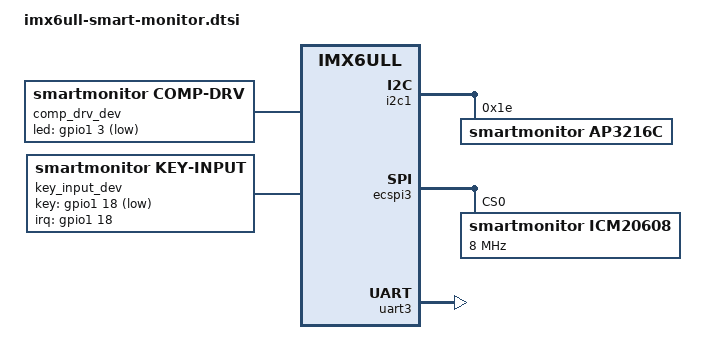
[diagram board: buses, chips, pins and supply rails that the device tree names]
/ {
  /* ========== LED 驱动 (CDEV) ========== */
  comp_drv_dev {
    compatible = "smartmonitor,comp-drv";
    pinctrl-names = "default";
    pinctrl-0 = <&pinctrl_led>;          /* ← 引用已有的引脚配置 */
    led-gpios = <&gpio1 3 GPIO_ACTIVE_LOW>;
    status = "okay";
  };
  
  /* ========== 按键输入驱动 (Input + IRQ) ========== */
  key_input_dev {
    compatible = "smartmonitor,key-input";
    pinctrl-names = "default";
    pinctrl-0 = <&pinctrl_key>;          /* ← 引用已有的引脚配置 */
    key-gpios = <&gpio1 18 GPIO_ACTIVE_LOW>;
    interrupt-parent = <&gpio1>;
    interrupts = <18 IRQ_TYPE_EDGE_BOTH>;
    key-code = <28>;
    debounce-interval = <20>;
    status = "okay";
  };
  
  /* ========== UART3 命令控制台（Phase 7） ==========
   *
   * UART3 硬件资源：
   *   基地址：0x021ec000（来自 imx6ull.dtsi 的 uart3 节点）
   *   中断号：GIC_SPI 28（Linux IRQ = 32+28 = 60）
   *   时钟：  IMX6UL_CLK_UART3_IPG + IMX6UL_CLK_UART3_SERIAL
   *
   * 注意：&uart3 已设为 disabled，防止 imx 驱动抢占资源。
   */
  uart_sensor_dev: uart_sensor_dev {
    compatible = "smartmonitor,uart-sensor";
    reg = <0x021ec000 0x4000>;
    interrupts = <GIC_SPI 28 IRQ_TYPE_LEVEL_HIGH>;
    interrupt-parent = <&intc>;
    clocks = <&clks IMX6UL_CLK_UART3_IPG>,
             <&clks IMX6UL_CLK_UART3_SERIAL>;
    clock-names = "ipg", "per";
    pinctrl-names = "default";
    pinctrl-0 = <&pinctrl_uart3>;
    current-speed = <115200>;
    status = "okay";
  };
  
};


/* ========== I2C1 — AP3216C 光照/接近传感器 ========== */
&i2c1 {
  ap3216c: ap3216c@1e {
    compatible = "smartmonitor,ap3216c";
    reg = <0x1e>;
  };
};

  /* ========== ECSPI3 — ICM20608 6轴传感器 ========== */
&ecspi3 {
  icm20608: icm20608@0 {
    compatible = "smartmonitor,icm20608";
    reg = <0>;   //这个reg为片选地址
    spi-max-frequency = <8000000>;   /* 8 MHz */
  };
};

/* ========== UART3 — 启用内核 imx-uart 驱动 (ttymxc2) ========== */
&uart3 {
    status = "okay";  /* 使用内核 imx-uart 驱动，设备文件 /dev/ttymxc2 */
};

/* 禁用 UART2 — 释放 UART3_TX/RX 引脚（被 UART2 流控占用） */
&uart2 {
    status = "disabled";
};

/* 禁用 FLEXCAN1 — 释放 UART3_RTS/CTS 引脚 */
&flexcan1 {
    status = "disabled";
};

/* 禁用自定义 uart_sensor_dev — 与 &uart3 的 reg 冲突 */
&uart_sensor_dev {
    status = "disabled";
};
